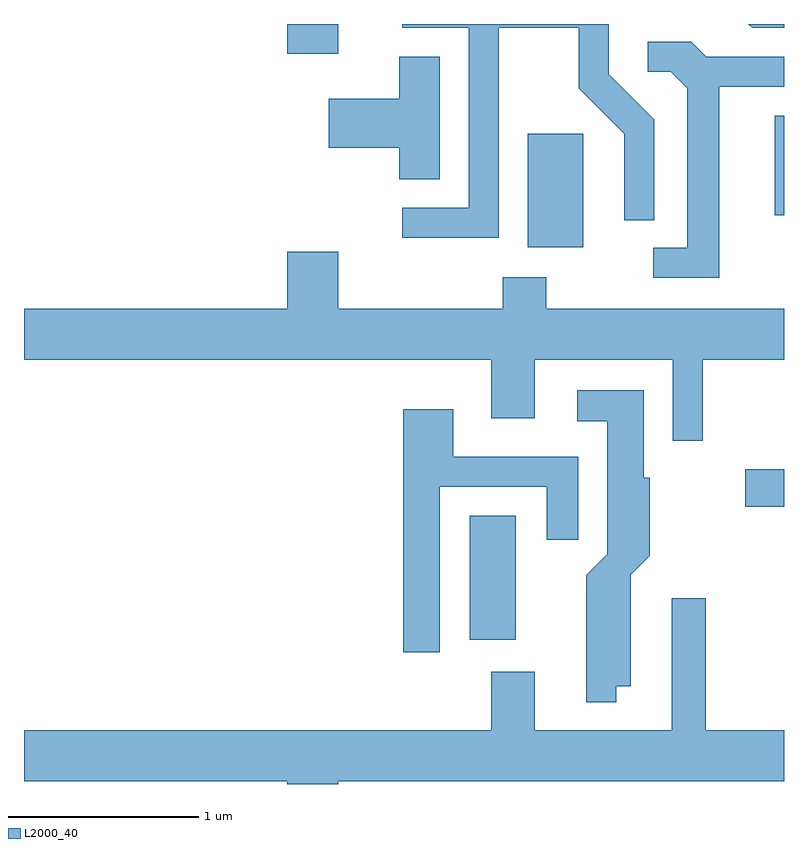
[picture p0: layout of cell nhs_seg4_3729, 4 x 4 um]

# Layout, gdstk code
import gdstk
lib = gdstk.Library(unit=1e-6, precision=1e-09)
def R(c, l, rs):  # rectangles x0, y0, x1, y1
    for r in rs: c.add(gdstk.rectangle(r[:2], r[2:], *l))
def P(c, l, *ps):  # polygons
    for p in ps: c.add(gdstk.Polygon(p, *l))
L2000_40 = (2000, 40)

nhs_seg4_3729 = lib.new_cell('nhs_seg4_3729')
R(nhs_seg4_3729, L2000_40, [(295.956,1368.741,296.199,1369.394), (297.406,1369.441,297.611,1369.639), (296.261,1370.806,296.554,1371.404), (297.561,1370.976,297.611,1371.499), (294.996,1371.826,295.264,1371.982)])
P(nhs_seg4_3729, L2000_40, [(297.611,1371.982),(297.423,1371.982),(297.444,1371.961),(297.611,1371.961)],
  [(296.109,1371.961),(296.531,1371.961),(296.531,1371.644),(296.771,1371.404),(296.771,1370.948),(296.929,1370.948),(296.929,1371.477),(296.689,1371.717),(296.689,1371.982),(295.603,1371.982),(295.603,1371.961),(295.951,1371.961),(295.951,1371.014),(295.603,1371.014),(295.603,1370.856),(296.109,1370.856)],
  [(297.269,1371.651),(297.611,1371.651),(297.611,1371.809),(297.202,1371.809),(297.122,1371.889),(296.893,1371.889),(296.893,1371.731),(297.014,1371.731),(297.101,1371.644),(297.101,1370.804),(296.923,1370.804),(296.923,1370.646),(297.269,1370.646)],
  [(295.799,1371.809),(295.586,1371.809),(295.586,1371.589),(295.216,1371.589),(295.216,1371.331),(295.586,1371.331),(295.586,1371.166),(295.799,1371.166)],
  [(297.184,1370.216),(297.611,1370.216),(297.611,1370.484),(296.359,1370.484),(296.359,1370.649),(296.131,1370.649),(296.131,1370.484),(295.264,1370.484),(295.264,1370.784),(294.996,1370.784),(294.996,1370.484),(293.611,1370.484),(293.611,1370.216),(296.071,1370.216),(296.071,1369.906),(296.299,1369.906),(296.299,1370.216),(297.026,1370.216),(297.026,1369.788),(297.184,1369.788)],
  [(296.729,1368.496),(296.804,1368.496),(296.804,1369.084),(296.904,1369.184),(296.904,1369.594),(296.874,1369.594),(296.874,1370.054),(296.523,1370.054),(296.523,1369.891),(296.681,1369.891),(296.681,1369.192),(296.571,1369.082),(296.571,1368.413),(296.729,1368.413)],
  [(295.799,1369.546),(296.361,1369.546),(296.361,1369.268),(296.529,1369.268),(296.529,1369.704),(295.869,1369.704),(295.869,1369.954),(295.606,1369.954),(295.606,1368.676),(295.799,1368.676)],
  [(295.264,1367.996),(297.611,1367.996),(297.611,1368.264),(297.199,1368.264),(297.199,1368.959),(297.021,1368.959),(297.021,1368.264),(296.299,1368.264),(296.299,1368.574),(296.071,1368.574),(296.071,1368.264),(293.611,1368.264),(293.611,1367.996),(294.996,1367.996),(294.996,1367.982),(295.264,1367.982)])

lib.write_gds('nhs_seg4_3729.gds')
